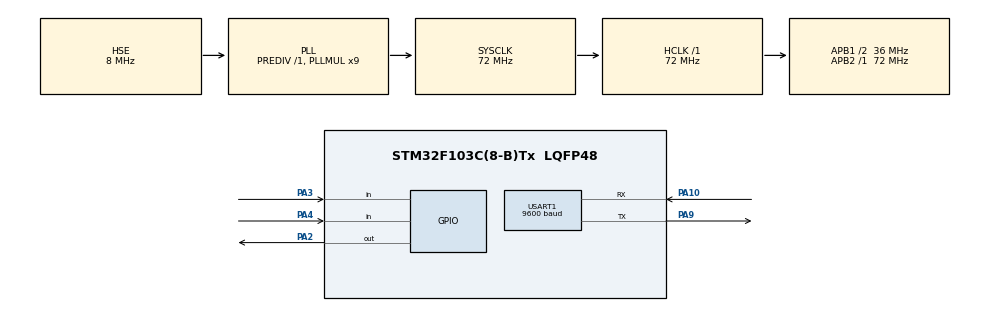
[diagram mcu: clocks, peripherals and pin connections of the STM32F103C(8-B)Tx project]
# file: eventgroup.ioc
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Mcu.Family=STM32F1
Mcu.Name=STM32F103C(8-B)Tx
Mcu.Package=LQFP48
NVIC.PriorityGroup=NVIC_PRIORITYGROUP_4
NVIC.TIM4_IRQn=true\:15\:0\:true\:false\:true\:false\:true\:true
NVIC.TimeBase=TIM4_IRQn
NVIC.TimeBaseIP=TIM4
PA10.Mode=Asynchronous
PA10.Signal=USART1_RX
PA13.Mode=Serial_Wire
PA13.Signal=SYS_JTMS-SWDIO
PA14.Mode=Serial_Wire
PA14.Signal=SYS_JTCK-SWCLK
PA2.Signal=GPIO_Output
PA3.GPIO_PuPd=GPIO_PULLDOWN
PA3.Signal=GPIO_Input
PA4.GPIO_PuPd=GPIO_PULLDOWN
PA4.Signal=GPIO_Input
PA9.Mode=Asynchronous
PA9.Signal=USART1_TX
PC14-OSC32_IN.Mode=LSE-External-Oscillator
PC14-OSC32_IN.Signal=RCC_OSC32_IN
PC15-OSC32_OUT.Mode=LSE-External-Oscillator
PC15-OSC32_OUT.Signal=RCC_OSC32_OUT
PD0-OSC_IN.Mode=HSE-External-Oscillator
PD0-OSC_IN.Signal=RCC_OSC_IN
PD1-OSC_OUT.Mode=HSE-External-Oscillator
PD1-OSC_OUT.Signal=RCC_OSC_OUT
ProjectManager.HeapSize=0x200
ProjectManager.StackSize=0x400
ProjectManager.TargetToolchain=CMake
RCC.AHBFreq_Value=72000000
RCC.APB1CLKDivider=RCC_HCLK_DIV2
RCC.APB1Freq_Value=36000000
RCC.APB1TimFreq_Value=72000000
RCC.APB2Freq_Value=72000000
RCC.APB2TimFreq_Value=72000000
RCC.HCLKFreq_Value=72000000
RCC.PLLMUL=RCC_PLL_MUL9
RCC.PLLSourceVirtual=RCC_PLLSOURCE_HSE
RCC.SYSCLKFreq_VALUE=72000000
RCC.SYSCLKSource=RCC_SYSCLKSOURCE_PLLCLK
RCC.USBFreq_Value=72000000
USART1.BaudRate=9600
USART1.VirtualMode=VM_ASYNC
VP_SYS_VS_tim4.Mode=TIM4
board=custom

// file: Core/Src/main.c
/* USER CODE BEGIN Header */
/**
  ******************************************************************************
  * @file           : main.c
  * @brief          : Main program body
  ******************************************************************************
  * @attention
  *
  * Copyright (c) 2026 STMicroelectronics.
  * All rights reserved.
  *
  * This software is licensed under terms that can be found in the LICENSE file
  * in the root directory of this software component.
  * If no LICENSE file comes with this software, it is provided AS-IS.
  *
  ******************************************************************************
  */
/* USER CODE END Header */
#include "main.h"
#include "usart.h"
#include "gpio.h"

/* USER CODE BEGIN Includes */
#include "FreeRTOS.h"
#include "portmacro.h"
#include "projdefs.h"
#include "stm32f103xb.h"
#include "stm32f1xx_hal.h"
#include "stm32f1xx_hal_gpio.h"
#include "task.h"
#include <stdio.h>
#include <string.h>
#include "event_groups.h"
/* USER CODE END Includes */

/* USER CODE BEGIN PD */
#define BUTTON1_EVENT    (1U << 0)
#define BUTTON2_EVENT    (1U << 1)
/* USER CODE END PD */

/* USER CODE BEGIN PV */
TaskHandle_t task1_handle = NULL;
TaskHandle_t task2_handle = NULL;
TaskHandle_t start_task_handler = NULL;
EventGroupHandle_t EventGroupHandle;
/* USER CODE END PV */

void SystemClock_Config(void);
/* USER CODE BEGIN PFP */
void FreeRTOS_Start(void);
void Start_Task(void *pvParameters);
void Task1(void *argument);
void Task2(void *argument);
/* USER CODE END PFP */

int main(void)
{

  /* MCU Configuration--------------------------------------------------------*/

  /* Reset of all peripherals, Initializes the Flash interface and the Systick. */
  HAL_Init();

  /* Configure the system clock */
  SystemClock_Config();

  /* Initialize all configured peripherals */
  MX_GPIO_Init();
  MX_USART1_UART_Init();
  /* USER CODE BEGIN 2 */

  EventGroupHandle = xEventGroupCreate();
  if (EventGroupHandle == NULL)
  {
    printf("EventGroup Init Fail\r\n");
  }

  FreeRTOS_Start();

  /* USER CODE END 2 */

  /* Infinite loop */
  while (1)
  {

  }
}

void SystemClock_Config(void)
{
  RCC_OscInitTypeDef RCC_OscInitStruct = {0};
  RCC_ClkInitTypeDef RCC_ClkInitStruct = {0};

  /** Initializes the RCC Oscillators according to the specified parameters
  * in the RCC_OscInitTypeDef structure.
  */
  RCC_OscInitStruct.OscillatorType = RCC_OSCILLATORTYPE_HSE;
  RCC_OscInitStruct.HSEState = RCC_HSE_ON;
  RCC_OscInitStruct.HSEPredivValue = RCC_HSE_PREDIV_DIV1;
  RCC_OscInitStruct.HSIState = RCC_HSI_ON;
  RCC_OscInitStruct.PLL.PLLState = RCC_PLL_ON;
  RCC_OscInitStruct.PLL.PLLSource = RCC_PLLSOURCE_HSE;
  RCC_OscInitStruct.PLL.PLLMUL = RCC_PLL_MUL9;
  if (HAL_RCC_OscConfig(&RCC_OscInitStruct) != HAL_OK)
  {
    Error_Handler();
  }

  /** Initializes the CPU, AHB and APB buses clocks
  */
  RCC_ClkInitStruct.ClockType = RCC_CLOCKTYPE_HCLK|RCC_CLOCKTYPE_SYSCLK
                              |RCC_CLOCKTYPE_PCLK1|RCC_CLOCKTYPE_PCLK2;
  RCC_ClkInitStruct.SYSCLKSource = RCC_SYSCLKSOURCE_PLLCLK;
  RCC_ClkInitStruct.AHBCLKDivider = RCC_SYSCLK_DIV1;
  RCC_ClkInitStruct.APB1CLKDivider = RCC_HCLK_DIV2;
  RCC_ClkInitStruct.APB2CLKDivider = RCC_HCLK_DIV1;

  if (HAL_RCC_ClockConfig(&RCC_ClkInitStruct, FLASH_LATENCY_2) != HAL_OK)
  {
    Error_Handler();
  }
}

/* USER CODE BEGIN 4 */
int __io_putchar(int ch)
{
  uint8_t data = (uint8_t)ch;
  HAL_UART_Transmit(&huart1, &data, 1, HAL_MAX_DELAY);
  return ch;
}

void FreeRTOS_Start(void)
{
  xTaskCreate(Start_Task, "Start_Task", 256, NULL, 1, &start_task_handler);
  vTaskStartScheduler();
}

void Start_Task(void * pvParameters)
{
  taskENTER_CRITICAL();               /* 進入臨界區 */

  xTaskCreate(Task1, "Task1", 128, NULL, 2, &task1_handle);
  xTaskCreate(Task2, "Task2", 128, NULL, 3, &task2_handle);

  vTaskDelete(NULL);
  taskEXIT_CRITICAL();                /* 退出臨界區 */
}

// 當 KEY1 按下，設定 BUTTON1 事件；當 KEY2 按下，設定 BUTTON2 事件
void Task1(void *argument)
{
  for (;;)
  {
    if (HAL_GPIO_ReadPin(GPIOA, GPIO_PIN_3) == GPIO_PIN_SET)
    {
      vTaskDelay(pdMS_TO_TICKS(20));
      if (HAL_GPIO_ReadPin(GPIOA, GPIO_PIN_3) == GPIO_PIN_SET)
      {
        xEventGroupSetBits(EventGroupHandle, BUTTON1_EVENT);
        printf("button1\r\n");
        while (HAL_GPIO_ReadPin(GPIOA, GPIO_PIN_3) == GPIO_PIN_SET)
        {
          vTaskDelay(pdMS_TO_TICKS(10));
        }
      }
      vTaskDelay(pdMS_TO_TICKS(20));
    }
    if (HAL_GPIO_ReadPin(GPIOA, GPIO_PIN_4) == GPIO_PIN_SET)
    {
      vTaskDelay(pdMS_TO_TICKS(20));
      if (HAL_GPIO_ReadPin(GPIOA, GPIO_PIN_4) == GPIO_PIN_SET)
      {
        xEventGroupSetBits(EventGroupHandle, BUTTON2_EVENT);
        printf("button2\r\n");
        while (HAL_GPIO_ReadPin(GPIOA, GPIO_PIN_4) == GPIO_PIN_SET)
        {
          vTaskDelay(pdMS_TO_TICKS(10));
        }
      }
      vTaskDelay(pdMS_TO_TICKS(20));
    }
    vTaskDelay(pdMS_TO_TICKS(50));
  }
}

// 等待 BUTTON1 和 BUTTON2 事件，兩個事件皆被設定後，翻轉 LED
void Task2(void *argument)
{
  for (;;)
  {
    xEventGroupWaitBits(EventGroupHandle, BUTTON1_EVENT | BUTTON2_EVENT, pdTRUE, pdTRUE, portMAX_DELAY);
    printf("all events completed\r\n");
    HAL_GPIO_TogglePin(GPIOA, GPIO_PIN_2);
  }
}

/* USER CODE END 4 */

void HAL_TIM_PeriodElapsedCallback(TIM_HandleTypeDef *htim)
{
  if (htim->Instance == TIM4)
  {
    HAL_IncTick();
  }
}

void Error_Handler(void)
{
  __disable_irq();
  while (1)
  {
  }
}
